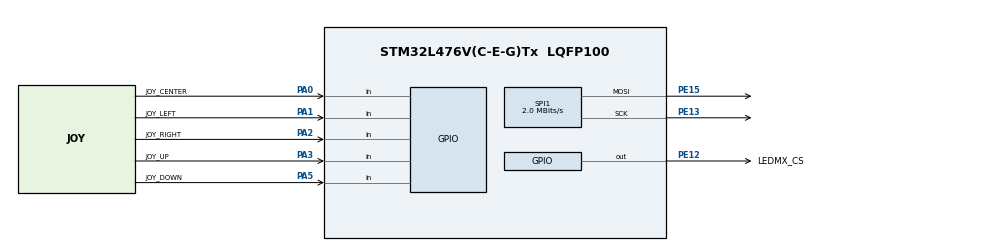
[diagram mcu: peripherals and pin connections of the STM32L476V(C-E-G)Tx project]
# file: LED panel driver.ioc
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Mcu.Family=STM32L4
Mcu.Name=STM32L476V(C-E-G)Tx
Mcu.Package=LQFP100
NVIC.PriorityGroup=NVIC_PRIORITYGROUP_4
PA0.GPIO_Label=JOY_CENTER
PA0.GPIO_PuPd=GPIO_PULLDOWN
PA0.Signal=GPIO_Input
PA1.GPIO_Label=JOY_LEFT
PA1.GPIO_PuPd=GPIO_PULLDOWN
PA1.Signal=GPIO_Input
PA2.GPIO_Label=JOY_RIGHT
PA2.GPIO_PuPd=GPIO_PULLDOWN
PA2.Signal=GPIO_Input
PA3.GPIO_Label=JOY_UP
PA3.GPIO_PuPd=GPIO_PULLDOWN
PA3.Signal=GPIO_Input
PA5.GPIO_Label=JOY_DOWN
PA5.GPIO_PuPd=GPIO_PULLDOWN
PA5.Signal=GPIO_Input
PE12.GPIO_Label=LEDMX_CS
PE12.GPIO_Speed=GPIO_SPEED_FREQ_LOW
PE12.PinState=GPIO_PIN_SET
PE12.Signal=GPIO_Output
PE13.Mode=TX_Only_Simplex_Unidirect_Master
PE13.Signal=SPI1_SCK
PE15.Mode=TX_Only_Simplex_Unidirect_Master
PE15.Signal=SPI1_MOSI
ProjectManager.HeapSize=0x200
ProjectManager.StackSize=0x400
ProjectManager.TargetToolchain=STM32CubeIDE
RCC.HSE_VALUE=8000000
RCC.HSI_VALUE=16000000
RCC.LSE_VALUE=32768
RCC.MSI_VALUE=4000000
RCC.VCOOutputFreq_Value=32000000
SPI1.BaudRatePrescaler=SPI_BAUDRATEPRESCALER_2
SPI1.CLKPhase=SPI_PHASE_1EDGE
SPI1.CLKPolarity=SPI_POLARITY_LOW
SPI1.CalculateBaudRate=2.0 MBits/s
SPI1.DataSize=SPI_DATASIZE_8BIT
SPI1.Direction=SPI_DIRECTION_2LINES
SPI1.FirstBit=SPI_FIRSTBIT_MSB
SPI1.Mode=SPI_MODE_MASTER
SPI1.NSSPMode=SPI_NSS_PULSE_DISABLE
SPI1.TIMode=SPI_TIMODE_DISABLE
SPI1.VirtualType=VM_MASTER
board=custom

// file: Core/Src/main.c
/* USER CODE BEGIN Header */
/**
  ******************************************************************************
  * @file           : main.c
  * @brief          : Main program body
  ******************************************************************************
  * @attention
  *
  * Copyright (c) 2023 STMicroelectronics.
  * All rights reserved.
  *
  * This software is licensed under terms that can be found in the LICENSE file
  * in the root directory of this software component.
  * If no LICENSE file comes with this software, it is provided AS-IS.
  *
  ******************************************************************************
  */
/* USER CODE END Header */
#include "main.h"

/* USER CODE BEGIN Includes */
#include "ledmatrix_driver.h"
//#include "LedControl.h"
/* USER CODE END Includes */

/* USER CODE BEGIN PD */
#define LEDMATRIX_SEGMENTS_W 	(12)
#define LEDMATRIX_SEGMENTS_H 	(1)
/* USER CODE END PD */

SPI_HandleTypeDef hspi1;

void SystemClock_Config(void);
static void MX_GPIO_Init(void);
static void MX_SPI1_Init(void);

int main(void)
{

  /* MCU Configuration--------------------------------------------------------*/

  /* Reset of all peripherals, Initializes the Flash interface and the Systick. */
  HAL_Init();

  /* Configure the system clock */
  SystemClock_Config();

  /* Initialize all configured peripherals */
  MX_GPIO_Init();
  MX_SPI1_Init();
  /* USER CODE BEGIN 2 */
  ledmx_init(&hspi1, LEDMATRIX_SEGMENTS_W, LEDMATRIX_SEGMENTS_H, true);
  ledmx_clear();
  //ledmx_text("Hello World!");
  //ledmx_setup_shift_text("Hello", 5, left, 100);
  ledmx_setup_shift_text("!@#$%^&*()-=+_.\\/;:'\"[]{}|<,.>?`~", 3, left, 100);
  /* USER CODE END 2 */

  /* Infinite loop */
  while (1)
  {

    /* USER CODE BEGIN 3 */
	  if (HAL_GPIO_ReadPin(JOY_DOWN_GPIO_Port, JOY_DOWN_Pin)) {
		  ledmx_text_slow_down();
	  }
	  else if (HAL_GPIO_ReadPin(JOY_UP_GPIO_Port, JOY_UP_Pin)) {
		  ledmx_text_speed_up();
	  }

	  if (HAL_GPIO_ReadPin(JOY_LEFT_GPIO_Port, JOY_LEFT_Pin)) {
		  ledmx_set_text_dir(left);
	  }
	  else if (HAL_GPIO_ReadPin(JOY_RIGHT_GPIO_Port, JOY_RIGHT_Pin)) {
		  ledmx_set_text_dir(right);

	  }

	  if (!HAL_GPIO_ReadPin(JOY_CENTER_GPIO_Port, JOY_CENTER_Pin)) {
		  ledmx_shift_text();
		  ledmx_display();
	  }
  }
  /* USER CODE END 3 */
}

void SystemClock_Config(void)
{
  RCC_OscInitTypeDef RCC_OscInitStruct = {0};
  RCC_ClkInitTypeDef RCC_ClkInitStruct = {0};

  /** Configure the main internal regulator output voltage
  */
  if (HAL_PWREx_ControlVoltageScaling(PWR_REGULATOR_VOLTAGE_SCALE1) != HAL_OK)
  {
    Error_Handler();
  }

  /** Initializes the RCC Oscillators according to the specified parameters
  * in the RCC_OscInitTypeDef structure.
  */
  RCC_OscInitStruct.OscillatorType = RCC_OSCILLATORTYPE_MSI;
  RCC_OscInitStruct.MSIState = RCC_MSI_ON;
  RCC_OscInitStruct.MSICalibrationValue = 0;
  RCC_OscInitStruct.MSIClockRange = RCC_MSIRANGE_6;
  RCC_OscInitStruct.PLL.PLLState = RCC_PLL_NONE;
  if (HAL_RCC_OscConfig(&RCC_OscInitStruct) != HAL_OK)
  {
    Error_Handler();
  }

  /** Initializes the CPU, AHB and APB buses clocks
  */
  RCC_ClkInitStruct.ClockType = RCC_CLOCKTYPE_HCLK|RCC_CLOCKTYPE_SYSCLK
                              |RCC_CLOCKTYPE_PCLK1|RCC_CLOCKTYPE_PCLK2;
  RCC_ClkInitStruct.SYSCLKSource = RCC_SYSCLKSOURCE_MSI;
  RCC_ClkInitStruct.AHBCLKDivider = RCC_SYSCLK_DIV1;
  RCC_ClkInitStruct.APB1CLKDivider = RCC_HCLK_DIV1;
  RCC_ClkInitStruct.APB2CLKDivider = RCC_HCLK_DIV1;

  if (HAL_RCC_ClockConfig(&RCC_ClkInitStruct, FLASH_LATENCY_0) != HAL_OK)
  {
    Error_Handler();
  }
}

static void MX_SPI1_Init(void)
{

  /* SPI1 parameter configuration*/
  hspi1.Instance = SPI1;
  hspi1.Init.Mode = SPI_MODE_MASTER;
  hspi1.Init.Direction = SPI_DIRECTION_2LINES;
  hspi1.Init.DataSize = SPI_DATASIZE_8BIT;
  hspi1.Init.CLKPolarity = SPI_POLARITY_LOW;
  hspi1.Init.CLKPhase = SPI_PHASE_1EDGE;
  hspi1.Init.NSS = SPI_NSS_SOFT;
  hspi1.Init.BaudRatePrescaler = SPI_BAUDRATEPRESCALER_2;
  hspi1.Init.FirstBit = SPI_FIRSTBIT_MSB;
  hspi1.Init.TIMode = SPI_TIMODE_DISABLE;
  hspi1.Init.CRCCalculation = SPI_CRCCALCULATION_DISABLE;
  hspi1.Init.CRCPolynomial = 7;
  hspi1.Init.CRCLength = SPI_CRC_LENGTH_DATASIZE;
  hspi1.Init.NSSPMode = SPI_NSS_PULSE_DISABLE;
  if (HAL_SPI_Init(&hspi1) != HAL_OK)
  {
    Error_Handler();
  }

}

static void MX_GPIO_Init(void)
{
  GPIO_InitTypeDef GPIO_InitStruct = {0};

  /* GPIO Ports Clock Enable */
  __HAL_RCC_GPIOA_CLK_ENABLE();
  __HAL_RCC_GPIOE_CLK_ENABLE();

  /*Configure GPIO pin Output Level */
  HAL_GPIO_WritePin(LEDMX_CS_GPIO_Port, LEDMX_CS_Pin, GPIO_PIN_SET);

  /*Configure GPIO pins : JOY_CENTER_Pin JOY_LEFT_Pin JOY_RIGHT_Pin JOY_UP_Pin
                           JOY_DOWN_Pin */
  GPIO_InitStruct.Pin = JOY_CENTER_Pin|JOY_LEFT_Pin|JOY_RIGHT_Pin|JOY_UP_Pin
                          |JOY_DOWN_Pin;
  GPIO_InitStruct.Mode = GPIO_MODE_INPUT;
  GPIO_InitStruct.Pull = GPIO_PULLDOWN;
  HAL_GPIO_Init(GPIOA, &GPIO_InitStruct);

  /*Configure GPIO pin : LEDMX_CS_Pin */
  GPIO_InitStruct.Pin = LEDMX_CS_Pin;
  GPIO_InitStruct.Mode = GPIO_MODE_OUTPUT_PP;
  GPIO_InitStruct.Pull = GPIO_NOPULL;
  GPIO_InitStruct.Speed = GPIO_SPEED_FREQ_LOW;
  HAL_GPIO_Init(LEDMX_CS_GPIO_Port, &GPIO_InitStruct);

}

void Error_Handler(void)
{
  __disable_irq();
  while (1)
  {
  }
}
